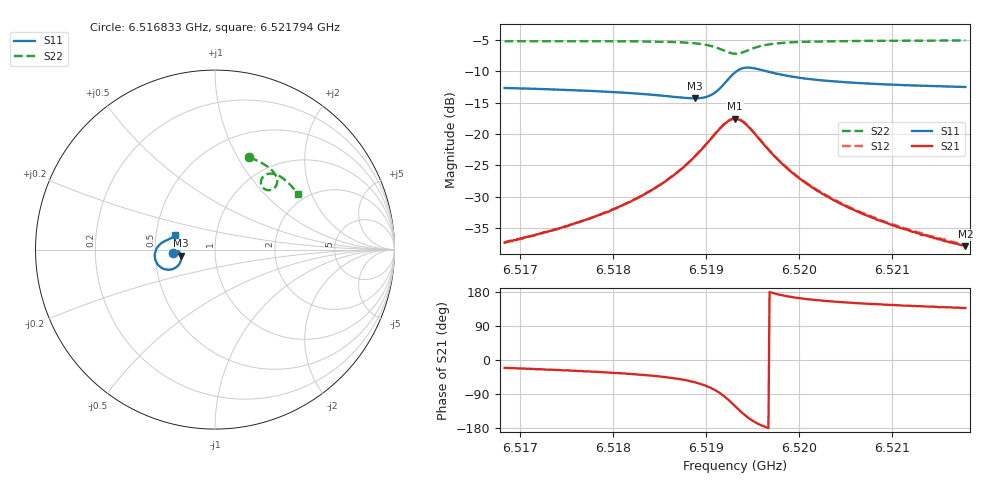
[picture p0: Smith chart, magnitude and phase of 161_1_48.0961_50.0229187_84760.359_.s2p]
#  HZ  S  RI  R  50.00
! Rohde & Schwarz Vector Network Analyzer
! Rohde-Schwarz,ZNB20-2Port,1311601062101988,3.16
! Created: UTC 12/23/2023, 3:50:45 AM
! freq[Hz]  re:S11  im:S11  re:S21  im:S21  re:S12  im:S12  re:S22  im:S22
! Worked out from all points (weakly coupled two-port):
!   401 points, 6.516833 GHz to 6.521794 GHz, reference 50 ohm
!   highest |S21| = -17.59 dB at 6.519314 GHz (marker M1); lowest = -37.9 dB at 6.521794 GHz (marker M2)
!   lowest |S11| = -14.3 dB at 6.518879 GHz (marker M3), VSWR 1.48, Z = 34 - j2.45 ohm
!   |S11| at or under -10 dB: start of sweep to 6.519331 GHz; 6.519651 GHz to end of sweep
!   |S22| runs from -7.2 to -5.1 dB; largest |S21 - S12| = 0.0041
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6.516833e9  -0.2314 -0.0203  0.0127 -0.00478  0.0128 -0.00442  0.1914 0.5134
6.5173167e9  -0.2263 -0.0131  0.0151 -0.0074  0.0153 -0.00678  0.2272 0.499
6.517664e9  -0.2215 -0.00878  0.0176 -0.00983  0.0178 -0.00924  0.2532 0.4866
6.5180981e9  -0.2136 -0.00606  0.0219 -0.0156  0.0224 -0.0148  0.2855 0.4672
6.5183213e9  -0.2079 -0.00706  0.025 -0.0205  0.0258 -0.0198  0.3026 0.4547
6.518495e9  -0.2026 -0.00987  0.0282 -0.0264  0.0291 -0.0257  0.3159 0.4427
6.5187182e9  -0.1944 -0.0193  0.0326 -0.0394  0.034 -0.0385  0.3332 0.4223
6.5188795e9  -0.1888 -0.0346  0.0342 -0.0562  0.036 -0.0554  0.3437 0.4009
6.5189911e9  -0.1886 -0.0531  0.0312 -0.0744  0.0337 -0.0738  0.3468 0.3803
6.5190779e9  -0.1951 -0.0737  0.0221 -0.0931  0.0251 -0.093  0.3427 0.3604
6.5192143e9  -0.2356 -0.1084  -0.0195 -0.1208  -0.016 -0.1223  0.3119 0.3325
6.5193136e9  -0.2909 -0.1051  -0.0691 -0.1125  -0.0663 -0.1152  0.2743 0.3387
6.5193632e9  -0.3151 -0.0874  -0.0887 -0.0944  -0.0865 -0.0976  0.261 0.3539
6.5194252e9  -0.3322 -0.0574  -0.1005 -0.0663  -0.0993 -0.0698  0.2557 0.3767
6.5195368e9  -0.3316 -0.00887  -0.0948 -0.0251  -0.0949 -0.0281  0.2699 0.408
6.5196484e9  -0.316 0.0195  -0.0784 -0.0035  -0.079 -0.00583  0.2922 0.4212
6.5198965e9  -0.2851 0.0446  -0.0502 0.0114  -0.0509 0.00993  0.3324 0.4207
6.5201445e9  -0.2668 0.0534  -0.0351 0.0132  -0.0357 0.0124  0.3596 0.4091
6.5205414e9  -0.2498 0.061  -0.0226 0.0122  -0.0232 0.0118  0.3914 0.387
6.5209755e9  -0.2382 0.0675  -0.0157 0.0108  -0.0163 0.0105  0.4186 0.3616
6.5213848e9  -0.2301 0.0731  -0.012 0.0096  -0.0123 0.00946  0.4411 0.3368
6.5217941e9  -0.2232 0.0787  -0.00936 0.00861  -0.00978 0.00863  0.4608 0.3114
